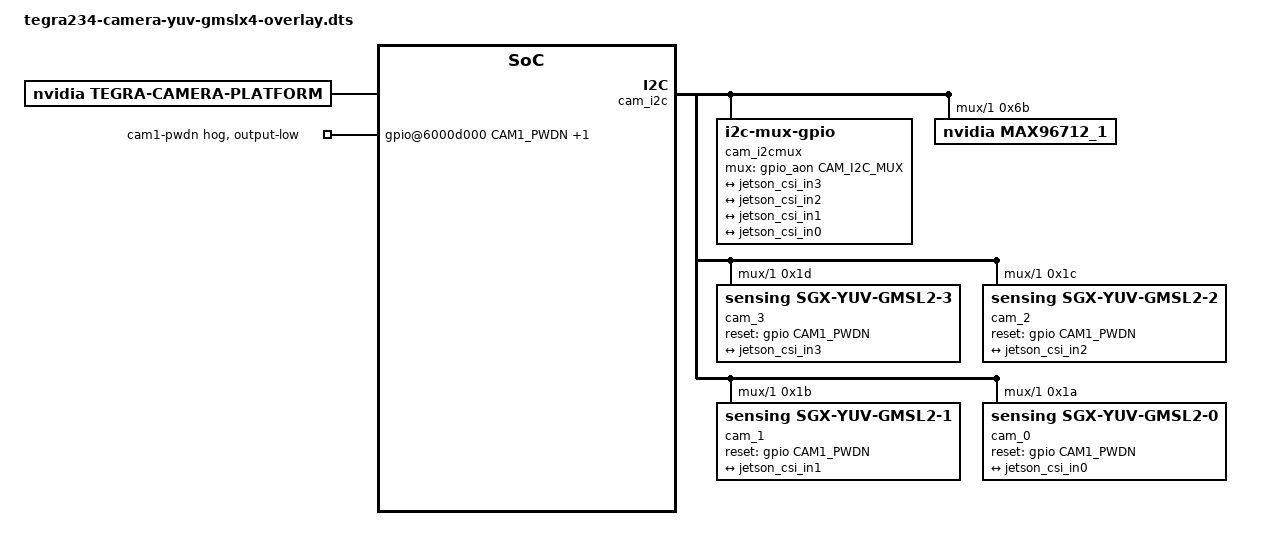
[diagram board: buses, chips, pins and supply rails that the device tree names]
// SPDX-License-Identifier: GPL-2.0-only
// SPDX-FileCopyrightText: Copyright (c) 2023-2024, NVIDIA CORPORATION & AFFILIATES. All rights reserved.

/dts-v1/;
/plugin/;

#define CAM0_PWDN	TEGRA234_MAIN_GPIO(H, 6)
#define CAM1_PWDN	TEGRA234_MAIN_GPIO(AC, 0)
#define CAM_I2C_MUX 	TEGRA234_AON_GPIO(CC, 3)

#include <dt-bindings/tegra234-p3767-0000-common.h>
#include <dt-bindings/clock/tegra234-clock.h>
#include <dt-bindings/gpio/tegra234-gpio.h>

/ {
	overlay-name = "Jetson Sensing YUV GMSLx4";
	jetson-header-name = "Jetson 24pin CSI Connector";
	compatible = JETSON_COMPATIBLE_P3768;
	/*IMX477 connected on cam0 port */

	fragment@0 {
		target-path = "/";
		__overlay__ {
			tegra-capture-vi  {
				num-channels = <4>;
				ports {
					#address-cells = <1>;
					#size-cells = <0>;
					port@0 {
						reg = <0>;
						jetson_vi_in0: endpoint {
							vc-id = <0>;
							port-index = <2>;
							bus-width = <4>;
							remote-endpoint = <&jetson_csi_out0>;
						};
					};
					port@1 {
						reg = <1>;
						jetson_vi_in1: endpoint {
							vc-id = <1>;
							port-index = <2>;
							bus-width = <4>;
							remote-endpoint = <&jetson_csi_out1>;
						};
					};
					port@2 {
						reg = <2>;
						jetson_vi_in2: endpoint {
							vc-id = <2>;
							port-index = <2>;
							bus-width = <4>;
							remote-endpoint = <&jetson_csi_out2>;
						};
					};
					port@3 {
						reg = <3>;
						jetson_vi_in3: endpoint {
							vc-id = <3>;
							port-index = <2>;
							bus-width = <4>;
							remote-endpoint = <&jetson_csi_out3>;
						};
					};
				};
			};
			tegra-camera-platform {
				compatible = "nvidia, tegra-camera-platform";
				/**
				* Physical settings to calculate max ISO BW
				*
				* num_csi_lanes = <>;
				* Total number of CSI lanes when all cameras are active
				*
				* max_lane_speed = <>;
				* Max lane speed in Kbit/s
				*
				* min_bits_per_pixel = <>;
				* Min bits per pixel
				*
				* vi_peak_byte_per_pixel = <>;
				* Max byte per pixel for the VI ISO case
				*
				* vi_bw_margin_pct = <>;
				* Vi bandwidth margin in percentage
				*
				* max_pixel_rate = <>;
				* Max pixel rate in Kpixel/s for the ISP ISO case
				*
				* isp_peak_byte_per_pixel = <>;
				* Max byte per pixel for the ISP ISO case
				*
				* isp_bw_margin_pct = <>;
				* Isp bandwidth margin in percentage
				*/
				num_csi_lanes = <4>;
				max_lane_speed = <1500000>;
				min_bits_per_pixel = <10>;
				vi_peak_byte_per_pixel = <2>;
				vi_bw_margin_pct = <25>;
				max_pixel_rate = <7500000>;
				isp_peak_byte_per_pixel = <5>;
				isp_bw_margin_pct = <25>;
				/**
				 * The general guideline for naming badge_info contains 3 parts, and is as follows,
				 * The first part is the camera_board_id for the module; if the module is in a FFD
				 * platform, then use the platform name for this part.
				 * The second part contains the position of the module, ex. "rear" or "front".
				 * The third part contains the last 6 characters of a part number which is found
				 * in the module's specsheet from the vendor.
				 */
				modules {
					module0 {
						badge = "cam0_position";
						position = "position";
						orientation = "1";
						drivernode0 {
							pcl_id = "v4l2_sensor";
							sysfs-device-tree = "/sys/firmware/devicetree/base/bus@0/cam_i2cmux/i2c@1/cam_0@1a";
						};
					};
					module1 {
						badge = "cam1_position";
						position = "position";
						orientation = "1";
						drivernode0 {
							pcl_id = "v4l2_sensor";
							sysfs-device-tree = "/sys/firmware/devicetree/base/bus@0/cam_i2cmux/i2c@1/cam_1@1b";
						};
					};
					module2 {
						badge = "cam2_position";
						position = "position";
						orientation = "1";
						drivernode0 {
							pcl_id = "v4l2_sensor";
							sysfs-device-tree = "/sys/firmware/devicetree/base/bus@0/cam_i2cmux/i2c@1/cam_2@1c";
						};
					};
					module3 {
						badge = "cam3_position";
						position = "position";
						orientation = "1";
						drivernode0 {
							pcl_id = "v4l2_sensor";
							sysfs-device-tree = "/sys/firmware/devicetree/base/bus@0/cam_i2cmux/i2c@1/cam_3@1d";
						};
					};
				};
			};
			bus@0 {
				host1x@13e00000 {
					nvcsi@15a00000 {
						num-channels = <4>;
						#address-cells = <1>;
						#size-cells = <0>;
						channel@0 {
							reg = <0>;
							ports {
								#address-cells = <1>;
								#size-cells = <0>;
								port@0 {
									reg = <0>;
									jetson_csi_in0: endpoint@0 {
										port-index = <2>;
										bus-width = <4>;
										remote-endpoint = <&mipi_cam_out0>;
									};
								};
								port@1 {
									reg = <1>;
									jetson_csi_out0: endpoint@1 {
										remote-endpoint = <&jetson_vi_in0>;
									};
								};
							};
						};
						channel@1 {
							reg = <1>;
							ports {
								#address-cells = <1>;
								#size-cells = <0>;
								port@0 {
									reg = <0>;
									jetson_csi_in1: endpoint@2 {
										port-index = <2>;
										bus-width = <4>;
										remote-endpoint = <&mipi_cam_out1>;
									};
								};
								port@1 {
									reg = <1>;
									jetson_csi_out1: endpoint@3 {
										remote-endpoint = <&jetson_vi_in1>;
									};
								};
							};
						};
						channel@2 {
							reg = <2>;
							ports {
								#address-cells = <1>;
								#size-cells = <0>;
								port@0 {
									reg = <0>;
									jetson_csi_in2: endpoint@4 {
										port-index = <2>;
										bus-width = <4>;
										remote-endpoint = <&mipi_cam_out2>;
									};
								};
								port@1 {
									reg = <1>;
									jetson_csi_out2: endpoint@5 {
										remote-endpoint = <&jetson_vi_in2>;
									};
								};
							};
						};
						channel@3 {
							reg = <3>;
							ports {
								#address-cells = <1>;
								#size-cells = <0>;
								port@0 {
									reg = <0>;
									jetson_csi_in3: endpoint@6 {
										port-index = <2>;
										bus-width = <4>;
										remote-endpoint = <&mipi_cam_out3>;
									};
								};
								port@1 {
									reg = <1>;
									jetson_csi_out3: endpoint@7 {
										remote-endpoint = <&jetson_vi_in3>;
									};
								};
							};
						};
					};
				};
				cam_i2cmux {
					status = "okay";
					compatible = "i2c-mux-gpio";
					#address-cells = <1>;
					#size-cells = <0>;
					mux-gpios = <&gpio_aon CAM_I2C_MUX GPIO_ACTIVE_HIGH>;
					i2c-parent = <&cam_i2c>;
					i2c@0 {
						rbpcv2_imx219_a@10 {
							status = "disabled";
						};
					};
					i2c@1 {
						status = "okay";
						reg = <1>;
						#address-cells = <1>;
						#size-cells = <0>;
						rbpcv2_imx219_c@10 {
							status = "disabled";
						};
						max96712_1@6b {
							status = "okay";
							compatible = "nvidia,max96712_1";
							reg = <0x6b>;
						};
						cam_3@1d {
							status = "okay";
							compatible = "sensing,sgx-yuv-gmsl2-3";
							reg = <0x1d>;
							devnode = "video3";

							/* Physical dimensions of sensor */
							physical_w = "15.0";
							physical_h = "12.5";

							sensor_model ="sgx-yuv-gmsl2";

							/* Defines number of frames to be dropped by driver internally after applying */
							/* sensor crop settings. Some sensors send corrupt frames after applying */
							/* crop co-ordinates */
							post_crop_frame_drop = "0";

							/* Convert Gain to unit of dB (decibel) befor passing to kernel driver */
							use_decibel_gain = "false";

							/* enable CID_SENSOR_MODE_ID for sensor modes selection */
							use_sensor_mode_id = "true";

							clocks = <&bpmp TEGRA234_CLK_EXTPERIPH1>,
									<&bpmp TEGRA234_CLK_EXTPERIPH1>;
							clock-names = "extperiph1", "pllp_grtba";
							mclk = "extperiph1";
							der_id = <1>;//
							reset-gpios = <&gpio CAM1_PWDN GPIO_ACTIVE_HIGH>;

							mode0 {/*mode SENSOR_MODE_1920X1080_CROP_30FPS*/
								mclk_khz = "24000";
								num_lanes = "4";
								tegra_sinterface = "serial_c";
								vc_id = "3";
								discontinuous_clk = "no";
								dpcm_enable = "false";
								cil_settletime = "0";
								dynamic_pixel_bit_depth = "16";
								csi_pixel_bit_depth = "16";
								mode_type = "yuv";
								pixel_phase = "uyvy";
								
								active_w = "1920";
								active_h = "1080";
								readout_orientation = "0";
								line_length = "2200";
								inherent_gain = "1";
								pix_clk_hz = "150000000";
								serdes_pix_clk_hz = "350000000";
								gain_factor = "16";
								min_gain_val = "16"; /* 1.00x */
								max_gain_val = "356"; /* 22x */
								step_gain_val = "1";
								default_gain = "16"; /* 1.00x */
								min_hdr_ratio = "1";
								max_hdr_ratio = "1";
								framerate_factor = "1000000";
								min_framerate = "30000000";
								max_framerate = "30000000";
								step_framerate = "1";
								default_framerate = "30000000";
								exposure_factor = "1000000";
								min_exp_time = "59"; /*us, 2 lines*/
								max_exp_time = "33333";
								step_exp_time = "1";
								default_exp_time = "33333";/* us */
								embedded_metadata_height = "0";
							};
							mode1 {//sg2-gmsl2-gw5xxx(1920*1536)
								mclk_khz = "24000";
								num_lanes = "4";
								tegra_sinterface = "serial_c";
								vc_id = "3";
								discontinuous_clk = "no";
								dpcm_enable = "false";
								cil_settletime = "0";
								dynamic_pixel_bit_depth = "16";
								csi_pixel_bit_depth = "16";
								mode_type = "yuv";
								pixel_phase = "uyvy";
								
								active_w = "1920";
								active_h = "1536";
								readout_orientation = "0";
								line_length = "2200";
								inherent_gain = "1";
								pix_clk_hz = "200000000";
								serdes_pix_clk_hz = "350000000";

								gain_factor = "16";
								min_gain_val = "16"; /* 1.00x */
								max_gain_val = "356"; /* 22x */
								step_gain_val = "1";
								default_gain = "16"; /* 1.00x */
								min_hdr_ratio = "1";
								max_hdr_ratio = "1";
								framerate_factor = "1000000";
								min_framerate = "30000000";
								max_framerate = "30000000";
								step_framerate = "1";
								default_framerate = "30000000";
								exposure_factor = "1000000";
								min_exp_time = "28"; /*us, 2 lines*/
								max_exp_time = "22000";
								step_exp_time = "1";
								default_exp_time = "22000";/* us */
								embedded_metadata_height = "0";
							};
							mode2 {//sg2-gmsl2-gw5xxx(2880*1860)
								mclk_khz = "24000";
								num_lanes = "4";
								tegra_sinterface = "serial_c";
								vc_id = "3";
								discontinuous_clk = "no";
								dpcm_enable = "false";
								cil_settletime = "0";
								dynamic_pixel_bit_depth = "16";
								csi_pixel_bit_depth = "16";
								mode_type = "yuv";
								pixel_phase = "uyvy";
								
								active_w = "2880";
								active_h = "1860";
								readout_orientation = "0";
								line_length = "3200";
								inherent_gain = "1";
								pix_clk_hz = "214300000";
								serdes_pix_clk_hz = "350000000";
								gain_factor = "16";
								min_gain_val = "16"; /* 1.00x */
								max_gain_val = "356"; /* 22x */
								step_gain_val = "1";
								default_gain = "16"; /* 1.00x */
								min_hdr_ratio = "1";
								max_hdr_ratio = "1";
								framerate_factor = "1000000";
								min_framerate = "30000000";
								max_framerate = "30000000";
								step_framerate = "1";
								default_framerate = "30000000";
								exposure_factor = "1000000";
								min_exp_time = "59"; /*us, 2 lines*/
								max_exp_time = "33333";
								step_exp_time = "1";
								default_exp_time = "33333";/* us */
								embedded_metadata_height = "0";
							};
							mode3 {//sg2-gmsl2-gw5xxx(3840*2160)
								mclk_khz = "24000";
								num_lanes = "4";
								tegra_sinterface = "serial_c";
								vc_id = "3";
								discontinuous_clk = "no";
								dpcm_enable = "false";
								cil_settletime = "0";
								dynamic_pixel_bit_depth = "16";
								csi_pixel_bit_depth = "16";
								mode_type = "yuv";
								pixel_phase = "uyvy";
								
								active_w = "3840";
								active_h = "2160";
								readout_orientation = "0";
								line_length = "4200";
								inherent_gain = "1";
								pix_clk_hz = "150000000";
								serdes_pix_clk_hz = "350000000";
								gain_factor = "16";
								min_gain_val = "16"; /* 1.00x */
								max_gain_val = "356"; /* 22x */
								step_gain_val = "1";
								default_gain = "16"; /* 1.00x */
								min_hdr_ratio = "1";
								max_hdr_ratio = "1";
								framerate_factor = "1000000";
								min_framerate = "30000000";
								max_framerate = "30000000";
								step_framerate = "1";
								default_framerate = "30000000";
								exposure_factor = "1000000";
								min_exp_time = "59"; /*us, 2 lines*/
								max_exp_time = "33333";
								step_exp_time = "1";
								default_exp_time = "33333";/* us */
								embedded_metadata_height = "0";
							};
							mode4 {/*mode SENSOR_MODE_1280X720_CROP_30FPS*/
								mclk_khz = "24000";
								num_lanes = "4";
								tegra_sinterface = "serial_c";
								vc_id = "3";
								discontinuous_clk = "no";
								dpcm_enable = "false";
								cil_settletime = "0";
								dynamic_pixel_bit_depth = "16";
								csi_pixel_bit_depth = "16";
								mode_type = "yuv";
								pixel_phase = "uyvy";
								
								active_w = "1280";
								active_h = "720";
								readout_orientation = "0";
								line_length = "2200";
								inherent_gain = "1";
								pix_clk_hz = "150000000";
								serdes_pix_clk_hz = "350000000";
								gain_factor = "16";
								min_gain_val = "16"; /* 1.00x */
								max_gain_val = "356"; /* 22x */
								step_gain_val = "1";
								default_gain = "16"; /* 1.00x */
								min_hdr_ratio = "1";
								max_hdr_ratio = "1";
								framerate_factor = "1000000";
								min_framerate = "30000000";
								max_framerate = "30000000";
								step_framerate = "1";
								default_framerate = "30000000";
								exposure_factor = "1000000";
								min_exp_time = "59"; /*us, 2 lines*/
								max_exp_time = "33333";
								step_exp_time = "1";
								default_exp_time = "33333";/* us */
								embedded_metadata_height = "0";
							};
							ports {
								#address-cells = <1>;
								#size-cells = <0>;

								port@0 {
									reg = <0>;
									mipi_cam_out3: endpoint {
										vc-id = <3>;
										port-index = <2>;
										bus-width = <4>;
										remote-endpoint = <&jetson_csi_in3>;
									};
								};
							};	
						};
						cam_2@1c {
							status = "okay";
							compatible = "sensing,sgx-yuv-gmsl2-2";
							reg = <0x1c>;
							devnode = "video2";

							/* Physical dimensions of sensor */
							physical_w = "15.0";
							physical_h = "12.5";

							sensor_model ="sgx-yuv-gmsl2";

							/* Defines number of frames to be dropped by driver internally after applying */
							/* sensor crop settings. Some sensors send corrupt frames after applying */
							/* crop co-ordinates */
							post_crop_frame_drop = "0";

							/* Convert Gain to unit of dB (decibel) befor passing to kernel driver */
							use_decibel_gain = "false";

							/* enable CID_SENSOR_MODE_ID for sensor modes selection */
							use_sensor_mode_id = "true";

							clocks = <&bpmp TEGRA234_CLK_EXTPERIPH1>,
									<&bpmp TEGRA234_CLK_EXTPERIPH1>;
							clock-names = "extperiph1", "pllp_grtba";
							mclk = "extperiph1";
							der_id = <1>;//
							reset-gpios = <&gpio CAM1_PWDN GPIO_ACTIVE_HIGH>;

							mode0 {/*mode SENSOR_MODE_1920X1080_CROP_30FPS*/
								mclk_khz = "24000";
								num_lanes = "4";
								tegra_sinterface = "serial_c";
								vc_id = "2";
								discontinuous_clk = "no";
								dpcm_enable = "false";
								cil_settletime = "0";
								dynamic_pixel_bit_depth = "16";
								csi_pixel_bit_depth = "16";
								mode_type = "yuv";
								pixel_phase = "uyvy";
								
								active_w = "1920";
								active_h = "1080";
								readout_orientation = "0";
								line_length = "2200";
								inherent_gain = "1";
								pix_clk_hz = "150000000";
								serdes_pix_clk_hz = "350000000";
								gain_factor = "16";
								min_gain_val = "16"; /* 1.00x */
								max_gain_val = "356"; /* 22x */
								step_gain_val = "1";
								default_gain = "16"; /* 1.00x */
								min_hdr_ratio = "1";
								max_hdr_ratio = "1";
								framerate_factor = "1000000";
								min_framerate = "30000000";
								max_framerate = "30000000";
								step_framerate = "1";
								default_framerate = "30000000";
								exposure_factor = "1000000";
								min_exp_time = "59"; /*us, 2 lines*/
								max_exp_time = "33333";
								step_exp_time = "1";
								default_exp_time = "33333";/* us */
								embedded_metadata_height = "0";
							};
							mode1 {//sg2-gmsl2-gw5xxx(1920*1536)
								mclk_khz = "24000";
								num_lanes = "4";
								tegra_sinterface = "serial_c";
								vc_id = "2";
								discontinuous_clk = "no";
								dpcm_enable = "false";
								cil_settletime = "0";
								dynamic_pixel_bit_depth = "16";
								csi_pixel_bit_depth = "16";
								mode_type = "yuv";
								pixel_phase = "uyvy";
								
								active_w = "1920";
								active_h = "1536";
								readout_orientation = "0";
								line_length = "2200";
								inherent_gain = "1";
								pix_clk_hz = "200000000";
								serdes_pix_clk_hz = "350000000";

								gain_factor = "16";
								min_gain_val = "16"; /* 1.00x */
								max_gain_val = "356"; /* 22x */
								step_gain_val = "1";
								default_gain = "16"; /* 1.00x */
								min_hdr_ratio = "1";
								max_hdr_ratio = "1";
								framerate_factor = "1000000";
								min_framerate = "30000000";
								max_framerate = "30000000";
								step_framerate = "1";
								default_framerate = "30000000";
								exposure_factor = "1000000";
								min_exp_time = "28"; /*us, 2 lines*/
								max_exp_time = "22000";
								step_exp_time = "1";
								default_exp_time = "22000";/* us */
								embedded_metadata_height = "0";
							};
							mode2 {//sg2-gmsl2-gw5xxx(2880*1860)
								mclk_khz = "24000";
								num_lanes = "4";
								tegra_sinterface = "serial_c";
								vc_id = "2";
								discontinuous_clk = "no";
								dpcm_enable = "false";
								cil_settletime = "0";
								dynamic_pixel_bit_depth = "16";
								csi_pixel_bit_depth = "16";
								mode_type = "yuv";
								pixel_phase = "uyvy";
								
								active_w = "2880";
								active_h = "1860";
								readout_orientation = "0";
								line_length = "3200";
								inherent_gain = "1";
								pix_clk_hz = "214300000";
								serdes_pix_clk_hz = "350000000";
								gain_factor = "16";
								min_gain_val = "16"; /* 1.00x */
								max_gain_val = "356"; /* 22x */
								step_gain_val = "1";
								default_gain = "16"; /* 1.00x */
								min_hdr_ratio = "1";
								max_hdr_ratio = "1";
								framerate_factor = "1000000";
								min_framerate = "30000000";
								max_framerate = "30000000";
								step_framerate = "1";
								default_framerate = "30000000";
								exposure_factor = "1000000";
								min_exp_time = "59"; /*us, 2 lines*/
								max_exp_time = "33333";
								step_exp_time = "1";
								default_exp_time = "33333";/* us */
								embedded_metadata_height = "0";
							};
							mode3 {//sg2-gmsl2-gw5xxx(3840*2160)
								mclk_khz = "24000";
								num_lanes = "4";
								tegra_sinterface = "serial_c";
								vc_id = "2";
								discontinuous_clk = "no";
								dpcm_enable = "false";
								cil_settletime = "0";
								dynamic_pixel_bit_depth = "16";
								csi_pixel_bit_depth = "16";
								mode_type = "yuv";
								pixel_phase = "uyvy";
								
								active_w = "3840";
								active_h = "2160";
								readout_orientation = "0";
								line_length = "4200";
								inherent_gain = "1";
								pix_clk_hz = "150000000";
								serdes_pix_clk_hz = "350000000";
								gain_factor = "16";
								min_gain_val = "16"; /* 1.00x */
								max_gain_val = "356"; /* 22x */
								step_gain_val = "1";
								default_gain = "16"; /* 1.00x */
								min_hdr_ratio = "1";
								max_hdr_ratio = "1";
								framerate_factor = "1000000";
								min_framerate = "30000000";
								max_framerate = "30000000";
								step_framerate = "1";
								default_framerate = "30000000";
								exposure_factor = "1000000";
								min_exp_time = "59"; /*us, 2 lines*/
								max_exp_time = "33333";
								step_exp_time = "1";
								default_exp_time = "33333";/* us */
								embedded_metadata_height = "0";
							};
							mode4 {/*mode SENSOR_MODE_1280X720_CROP_30FPS*/
								mclk_khz = "24000";
								num_lanes = "4";
								tegra_sinterface = "serial_c";
								vc_id = "2";
								discontinuous_clk = "no";
								dpcm_enable = "false";
								cil_settletime = "0";
								dynamic_pixel_bit_depth = "16";
								csi_pixel_bit_depth = "16";
								mode_type = "yuv";
								pixel_phase = "uyvy";
								
								active_w = "1280";
								active_h = "720";
								readout_orientation = "0";
								line_length = "2200";
								inherent_gain = "1";
								pix_clk_hz = "150000000";
								serdes_pix_clk_hz = "350000000";
								gain_factor = "16";
								min_gain_val = "16"; /* 1.00x */
								max_gain_val = "356"; /* 22x */
								step_gain_val = "1";
								default_gain = "16"; /* 1.00x */
								min_hdr_ratio = "1";
								max_hdr_ratio = "1";
								framerate_factor = "1000000";
								min_framerate = "30000000";
								max_framerate = "30000000";
								step_framerate = "1";
								default_framerate = "30000000";
								exposure_factor = "1000000";
								min_exp_time = "59"; /*us, 2 lines*/
								max_exp_time = "33333";
								step_exp_time = "1";
								default_exp_time = "33333";/* us */
								embedded_metadata_height = "0";
							};
							ports {
								#address-cells = <1>;
								#size-cells = <0>;

								port@0 {
									reg = <0>;
									mipi_cam_out2: endpoint {
										vc-id = <2>;
										port-index = <2>;
										bus-width = <4>;
										remote-endpoint = <&jetson_csi_in2>;
									};
								};
							};	
						};
						cam_1@1b {
							status = "okay";
							compatible = "sensing,sgx-yuv-gmsl2-1";
							reg = <0x1b>;
							devnode = "video1";

							/* Physical dimensions of sensor */
							physical_w = "15.0";
							physical_h = "12.5";

							sensor_model ="sgx-yuv-gmsl2";

							/* Defines number of frames to be dropped by driver internally after applying */
							/* sensor crop settings. Some sensors send corrupt frames after applying */
							/* crop co-ordinates */
							post_crop_frame_drop = "0";

							/* Convert Gain to unit of dB (decibel) befor passing to kernel driver */
							use_decibel_gain = "false";

							/* enable CID_SENSOR_MODE_ID for sensor modes selection */
							use_sensor_mode_id = "true";

							clocks = <&bpmp TEGRA234_CLK_EXTPERIPH1>,
									<&bpmp TEGRA234_CLK_EXTPERIPH1>;
							clock-names = "extperiph1", "pllp_grtba";
							mclk = "extperiph1";
							der_id = <1>;//
							reset-gpios = <&gpio CAM1_PWDN GPIO_ACTIVE_HIGH>;

							mode0 {/*mode SENSOR_MODE_1920X1080_CROP_30FPS*/
								mclk_khz = "24000";
								num_lanes = "4";
								tegra_sinterface = "serial_c";
								vc_id = "1";
								discontinuous_clk = "no";
								dpcm_enable = "false";
								cil_settletime = "0";
								dynamic_pixel_bit_depth = "16";
								csi_pixel_bit_depth = "16";
								mode_type = "yuv";
								pixel_phase = "uyvy";
								
								active_w = "1920";
								active_h = "1080";
								readout_orientation = "0";
								line_length = "2200";
								inherent_gain = "1";
								pix_clk_hz = "150000000";
								serdes_pix_clk_hz = "350000000";
								gain_factor = "16";
								min_gain_val = "16"; /* 1.00x */
								max_gain_val = "356"; /* 22x */
								step_gain_val = "1";
								default_gain = "16"; /* 1.00x */
								min_hdr_ratio = "1";
								max_hdr_ratio = "1";
								framerate_factor = "1000000";
								min_framerate = "30000000";
								max_framerate = "30000000";
								step_framerate = "1";
								default_framerate = "30000000";
								exposure_factor = "1000000";
								min_exp_time = "59"; /*us, 2 lines*/
								max_exp_time = "33333";
								step_exp_time = "1";
								default_exp_time = "33333";/* us */
								embedded_metadata_height = "0";
							};
							mode1 {//sg2-gmsl2-gw5xxx(1920*1536)
								mclk_khz = "24000";
								num_lanes = "4";
								tegra_sinterface = "serial_c";
								vc_id = "1";
								discontinuous_clk = "no";
								dpcm_enable = "false";
								cil_settletime = "0";
								dynamic_pixel_bit_depth = "16";
								csi_pixel_bit_depth = "16";
								mode_type = "yuv";
								pixel_phase = "uyvy";
								
								active_w = "1920";
								active_h = "1536";
								readout_orientation = "0";
								line_length = "2200";
								inherent_gain = "1";
								pix_clk_hz = "200000000";
								serdes_pix_clk_hz = "350000000";

								gain_factor = "16";
								min_gain_val = "16"; /* 1.00x */
								max_gain_val = "356"; /* 22x */
								step_gain_val = "1";
								default_gain = "16"; /* 1.00x */
								min_hdr_ratio = "1";
								max_hdr_ratio = "1";
								framerate_factor = "1000000";
								min_framerate = "30000000";
								max_framerate = "30000000";
								step_framerate = "1";
								default_framerate = "30000000";
								exposure_factor = "1000000";
								min_exp_time = "28"; /*us, 2 lines*/
								max_exp_time = "22000";
								step_exp_time = "1";
								default_exp_time = "22000";/* us */
								embedded_metadata_height = "0";
							};
							mode2 {//sg2-gmsl2-gw5xxx(2880*1860)
								mclk_khz = "24000";
								num_lanes = "4";
								tegra_sinterface = "serial_c";
								vc_id = "1";
								discontinuous_clk = "no";
								dpcm_enable = "false";
								cil_settletime = "0";
								dynamic_pixel_bit_depth = "16";
								csi_pixel_bit_depth = "16";
								mode_type = "yuv";
								pixel_phase = "uyvy";
								
								active_w = "2880";
								active_h = "1860";
								readout_orientation = "0";
								line_length = "3200";
								inherent_gain = "1";
								pix_clk_hz = "214300000";
								serdes_pix_clk_hz = "350000000";
								gain_factor = "16";
								min_gain_val = "16"; /* 1.00x */
								max_gain_val = "356"; /* 22x */
								step_gain_val = "1";
								default_gain = "16"; /* 1.00x */
								min_hdr_ratio = "1";
								max_hdr_ratio = "1";
								framerate_factor = "1000000";
								min_framerate = "30000000";
								max_framerate = "30000000";
								step_framerate = "1";
								default_framerate = "30000000";
								exposure_factor = "1000000";
								min_exp_time = "59"; /*us, 2 lines*/
								max_exp_time = "33333";
								step_exp_time = "1";
								default_exp_time = "33333";/* us */
								embedded_metadata_height = "0";
							};
							mode3 {//sg2-gmsl2-gw5xxx(3840*2160)
								mclk_khz = "24000";
								num_lanes = "4";
								tegra_sinterface = "serial_c";
								vc_id = "1";
								discontinuous_clk = "no";
								dpcm_enable = "false";
								cil_settletime = "0";
								dynamic_pixel_bit_depth = "16";
								csi_pixel_bit_depth = "16";
								mode_type = "yuv";
								pixel_phase = "uyvy";
								
								active_w = "3840";
								active_h = "2160";
								readout_orientation = "0";
								line_length = "4200";
								inherent_gain = "1";
								pix_clk_hz = "150000000";
								serdes_pix_clk_hz = "350000000";
								gain_factor = "16";
								min_gain_val = "16"; /* 1.00x */
								max_gain_val = "356"; /* 22x */
								step_gain_val = "1";
								default_gain = "16"; /* 1.00x */
								min_hdr_ratio = "1";
								max_hdr_ratio = "1";
								framerate_factor = "1000000";
								min_framerate = "30000000";
								max_framerate = "30000000";
								step_framerate = "1";
								default_framerate = "30000000";
								exposure_factor = "1000000";
								min_exp_time = "59"; /*us, 2 lines*/
								max_exp_time = "33333";
								step_exp_time = "1";
								default_exp_time = "33333";/* us */
								embedded_metadata_height = "0";
							};
							mode4 {/*mode SENSOR_MODE_1280X720_CROP_30FPS*/
								mclk_khz = "24000";
								num_lanes = "4";
								tegra_sinterface = "serial_c";
								vc_id = "1";
								discontinuous_clk = "no";
								dpcm_enable = "false";
								cil_settletime = "0";
								dynamic_pixel_bit_depth = "16";
								csi_pixel_bit_depth = "16";
								mode_type = "yuv";
								pixel_phase = "uyvy";
								
								active_w = "1280";
								active_h = "720";
								readout_orientation = "0";
								line_length = "2200";
								inherent_gain = "1";
								pix_clk_hz = "150000000";
								serdes_pix_clk_hz = "350000000";
								gain_factor = "16";
								min_gain_val = "16"; /* 1.00x */
								max_gain_val = "356"; /* 22x */
								step_gain_val = "1";
								default_gain = "16"; /* 1.00x */
								min_hdr_ratio = "1";
								max_hdr_ratio = "1";
								framerate_factor = "1000000";
								min_framerate = "30000000";
								max_framerate = "30000000";
								step_framerate = "1";
								default_framerate = "30000000";
								exposure_factor = "1000000";
								min_exp_time = "59"; /*us, 2 lines*/
								max_exp_time = "33333";
								step_exp_time = "1";
								default_exp_time = "33333";/* us */
								embedded_metadata_height = "0";
							};
							ports {
								#address-cells = <1>;
								#size-cells = <0>;

								port@0 {
									reg = <0>;
									mipi_cam_out1: endpoint {
										vc-id = <1>;
										port-index = <2>;
										bus-width = <4>;
										remote-endpoint = <&jetson_csi_in1>;
									};
								};
							};	
						};
						cam_0@1a {
							status = "okay";
							compatible = "sensing,sgx-yuv-gmsl2-0";
							reg = <0x1a>;
							devnode = "video0";

							/* Physical dimensions of sensor */
							physical_w = "15.0";
							physical_h = "12.5";

							sensor_model ="sgx-yuv-gmsl2";

							/* Defines number of frames to be dropped by driver internally after applying */
							/* sensor crop settings. Some sensors send corrupt frames after applying */
							/* crop co-ordinates */
							post_crop_frame_drop = "0";

							/* Convert Gain to unit of dB (decibel) befor passing to kernel driver */
							use_decibel_gain = "false";

							/* enable CID_SENSOR_MODE_ID for sensor modes selection */
							use_sensor_mode_id = "true";

							clocks = <&bpmp TEGRA234_CLK_EXTPERIPH1>,
									<&bpmp TEGRA234_CLK_EXTPERIPH1>;
							clock-names = "extperiph1", "pllp_grtba";
							mclk = "extperiph1";
							der_id = <1>;//
							reset-gpios = <&gpio CAM1_PWDN GPIO_ACTIVE_HIGH>;

							mode0 {/*mode SENSOR_MODE_1920X1080_CROP_30FPS*/
								mclk_khz = "24000";
								num_lanes = "4";
								tegra_sinterface = "serial_c";
								vc_id = "0";
								discontinuous_clk = "no";
								dpcm_enable = "false";
								cil_settletime = "0";
								dynamic_pixel_bit_depth = "16";
								csi_pixel_bit_depth = "16";
								mode_type = "yuv";
								pixel_phase = "uyvy";
								
								active_w = "1920";
								active_h = "1080";
								readout_orientation = "0";
								line_length = "2200";
								inherent_gain = "1";
								pix_clk_hz = "150000000";
								serdes_pix_clk_hz = "350000000";
								gain_factor = "16";
								min_gain_val = "16"; /* 1.00x */
								max_gain_val = "356"; /* 22x */
								step_gain_val = "1";
								default_gain = "16"; /* 1.00x */
								min_hdr_ratio = "1";
								max_hdr_ratio = "1";
								framerate_factor = "1000000";
								min_framerate = "30000000";
								max_framerate = "30000000";
								step_framerate = "1";
								default_framerate = "30000000";
								exposure_factor = "1000000";
								min_exp_time = "59"; /*us, 2 lines*/
								max_exp_time = "33333";
								step_exp_time = "1";
								default_exp_time = "33333";/* us */
								embedded_metadata_height = "0";
							};
							mode1 {//sg2-gmsl2-gw5xxx(1920*1536)
								mclk_khz = "24000";
								num_lanes = "4";
								tegra_sinterface = "serial_c";
								vc_id = "0";
								discontinuous_clk = "no";
								dpcm_enable = "false";
								cil_settletime = "0";
								dynamic_pixel_bit_depth = "16";
								csi_pixel_bit_depth = "16";
								mode_type = "yuv";
								pixel_phase = "uyvy";
								
								active_w = "1920";
								active_h = "1536";
								readout_orientation = "0";
								line_length = "2200";
								inherent_gain = "1";
								pix_clk_hz = "200000000";
								serdes_pix_clk_hz = "350000000";

								gain_factor = "16";
								min_gain_val = "16"; /* 1.00x */
								max_gain_val = "356"; /* 22x */
								step_gain_val = "1";
								default_gain = "16"; /* 1.00x */
								min_hdr_ratio = "1";
								max_hdr_ratio = "1";
								framerate_factor = "1000000";
								min_framerate = "30000000";
								max_framerate = "30000000";
								step_framerate = "1";
								default_framerate = "30000000";
								exposure_factor = "1000000";
								min_exp_time = "28"; /*us, 2 lines*/
								max_exp_time = "22000";
								step_exp_time = "1";
								default_exp_time = "22000";/* us */
								embedded_metadata_height = "0";
							};
							mode2 {//sg2-gmsl2-gw5xxx(2880*1860)
								mclk_khz = "24000";
								num_lanes = "4";
								tegra_sinterface = "serial_c";
								vc_id = "0";
								discontinuous_clk = "no";
								dpcm_enable = "false";
								cil_settletime = "0";
								dynamic_pixel_bit_depth = "16";
								csi_pixel_bit_depth = "16";
								mode_type = "yuv";
								pixel_phase = "uyvy";
								
								active_w = "2880";
								active_h = "1860";
								readout_orientation = "0";
								line_length = "3200";
								inherent_gain = "1";
								pix_clk_hz = "214300000";
								serdes_pix_clk_hz = "350000000";
								gain_factor = "16";
								min_gain_val = "16"; /* 1.00x */
								max_gain_val = "356"; /* 22x */
								step_gain_val = "1";
								default_gain = "16"; /* 1.00x */
								min_hdr_ratio = "1";
								max_hdr_ratio = "1";
								framerate_factor = "1000000";
								min_framerate = "30000000";
								max_framerate = "30000000";
								step_framerate = "1";
								default_framerate = "30000000";
								exposure_factor = "1000000";
								min_exp_time = "59"; /*us, 2 lines*/
								max_exp_time = "33333";
								step_exp_time = "1";
								default_exp_time = "33333";/* us */
								embedded_metadata_height = "0";
							};
							mode3 {//sg2-gmsl2-gw5xxx(3840*2160)
								mclk_khz = "24000";
								num_lanes = "4";
								tegra_sinterface = "serial_c";
								vc_id = "0";
								discontinuous_clk = "no";
								dpcm_enable = "false";
								cil_settletime = "0";
								dynamic_pixel_bit_depth = "16";
								csi_pixel_bit_depth = "16";
								mode_type = "yuv";
								pixel_phase = "uyvy";
								
								active_w = "3840";
								active_h = "2160";
								readout_orientation = "0";
								line_length = "4200";
								inherent_gain = "1";
								pix_clk_hz = "150000000";
								serdes_pix_clk_hz = "350000000";
								gain_factor = "16";
								min_gain_val = "16"; /* 1.00x */
								max_gain_val = "356"; /* 22x */
								step_gain_val = "1";
								default_gain = "16"; /* 1.00x */
								min_hdr_ratio = "1";
								max_hdr_ratio = "1";
								framerate_factor = "1000000";
								min_framerate = "30000000";
								max_framerate = "30000000";
								step_framerate = "1";
								default_framerate = "30000000";
								exposure_factor = "1000000";
								min_exp_time = "59"; /*us, 2 lines*/
								max_exp_time = "33333";
								step_exp_time = "1";
								default_exp_time = "33333";/* us */
								embedded_metadata_height = "0";
							};
							mode4 {/*mode SENSOR_MODE_1280X720_CROP_30FPS*/
								mclk_khz = "24000";
								num_lanes = "4";
								tegra_sinterface = "serial_c";
								vc_id = "0";
								discontinuous_clk = "no";
								dpcm_enable = "false";
								cil_settletime = "0";
								dynamic_pixel_bit_depth = "16";
								csi_pixel_bit_depth = "16";
								mode_type = "yuv";
								pixel_phase = "uyvy";
								
								active_w = "1280";
								active_h = "720";
								readout_orientation = "0";
								line_length = "2200";
								inherent_gain = "1";
								pix_clk_hz = "150000000";
								serdes_pix_clk_hz = "350000000";
								gain_factor = "16";
								min_gain_val = "16"; /* 1.00x */
								max_gain_val = "356"; /* 22x */
								step_gain_val = "1";
								default_gain = "16"; /* 1.00x */
								min_hdr_ratio = "1";
								max_hdr_ratio = "1";
								framerate_factor = "1000000";
								min_framerate = "30000000";
								max_framerate = "30000000";
								step_framerate = "1";
								default_framerate = "30000000";
								exposure_factor = "1000000";
								min_exp_time = "59"; /*us, 2 lines*/
								max_exp_time = "33333";
								step_exp_time = "1";
								default_exp_time = "33333";/* us */
								embedded_metadata_height = "0";
							};
							ports {
								#address-cells = <1>;
								#size-cells = <0>;

								port@0 {
									reg = <0>;
									mipi_cam_out0: endpoint {
										vc-id = <0>;
										port-index = <2>;
										bus-width = <4>;
										remote-endpoint = <&jetson_csi_in0>;
									};
								};
							};
							gmsl-link {
								src-csi-port = "b";
								dst-csi-port = "a";
								serdes-csi-link = "a";
								csi-mode = "1x4";
								st-vc = <0>;
								vc-id = <0>;
								num-lanes = <4>;
								streams = "ued-u1", "yuv16";
							};	
						};
					};
				};

				gpio@6000d000 {
					camera-control-output-low {
						gpio-hog;
						output-low;
						gpios = <CAM1_PWDN 0  CAM0_PWDN 0>;
						label = "cam1-pwdn", "cam0-pwdn";
					};
				};
			};
		};
	};
};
